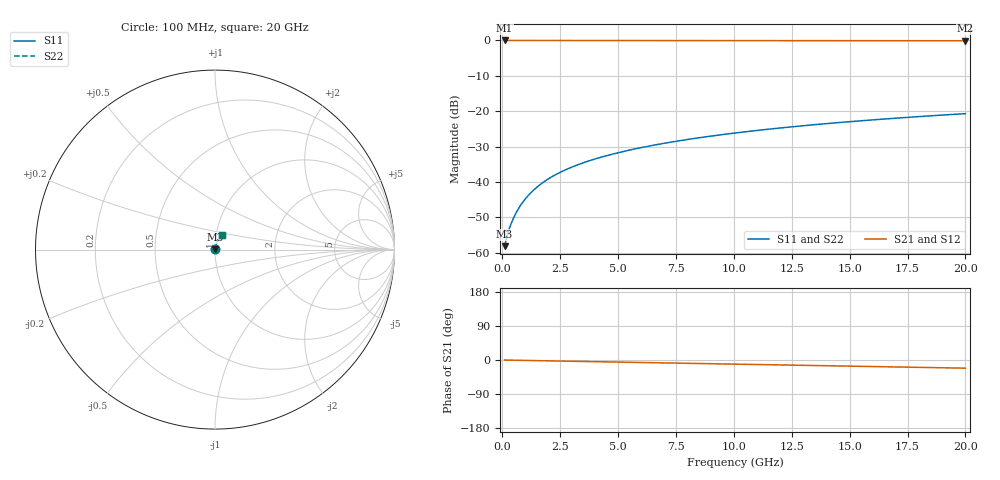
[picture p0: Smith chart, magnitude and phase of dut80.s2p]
! Touchstone file exported from HFSS 2026.1.0
!  File:  C:/ffzhzh/LocalFiles/Ansys_Project_Files/temp_train_TMRDL_80_1782881339_13352.aedt
!  Generated:  12:50:07 PM Jul  1, 2026
!  Design:  TMRDL
!  Project:  temp_train_TMRDL_80_1782881339_13352
! Variables:
!  h_bsmrdl = 2um
!  h_ox = 20um
!  h_rdl = 5um
!  h_sub = 80um
!  h_tmrdl = 5.54um
!  h_tsv = 80um
!  h_via = 3um
!  l_bsmrdl = 300um
!  l_sub = 753.25um
!  l_tmrdl = 353.25um
!  m_sub = 200um
!  pitch = 40.56um
!  r_tsv = 6um
!  s_tmrdl = 10um
!  w_bsmrdl = 18um
!  w_sub = 500um
!  w_tmrdl = 28.92um
!  x_tsv_center1 = 367.71um
!  x_tsv_center2 = 685.71um
!  x_tsv_center3 = 1067.88um
!  x_tsv_center4 = 1385.88um
!  x_tsv_center5 = 1768.05um
!  x_tsv_center6 = 2086.05um
# GHz S MA R 50.000000
! Terminal data exported
! Port[1] = TM_RDL1_1_T1
! Port[2] = TM_RDL1_1_T2
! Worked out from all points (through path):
!   200 points, 100 MHz to 20 GHz, reference 50 ohm
!   highest |S21| = -0.01 dB at 100 MHz (marker M1); lowest = -0.1 dB at 20 GHz (marker M2)
!   group delay of S21, straight-line fit = 2.98 ps
!   lowest |S11| = -58.1 dB at 100 MHz (marker M3), VSWR 1.00, Z = 50.1 + j0.0731 ohm
!   |S11| at or under -10 dB: start of sweep to end of sweep
!   |S22| runs from -58.1 to -20.7 dB; largest |S21 - S12| = 9.2e-15
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0.1  0.00124 36.0  0.999 -0.1  0.999 -0.1  0.00124 36.0
! Gamma 0 0 0 0
! Port Impedance 50 0 50 0
0.2  0.001721 48.8  0.9989 -0.2  0.9989 -0.2  0.001721 48.8
0.3  0.002186 56.5  0.9988 -0.4  0.9988 -0.4  0.002186 56.5
0.4  0.002668 61.9  0.9987 -0.5  0.9987 -0.5  0.002668 61.9
0.5  0.003168 65.8  0.9986 -0.6  0.9986 -0.6  0.003169 65.8
0.6  0.003683 68.6  0.9986 -0.7  0.9986 -0.7  0.003683 68.6
0.8  0.004735 72.4  0.9985 -0.9  0.9985 -0.9  0.004735 72.4
1  0.005804 74.6  0.9985 -1.1  0.9985 -1.1  0.005804 74.6
1.2  0.006876 76.0  0.9984 -1.4  0.9984 -1.4  0.006876 76.0
1.4  0.007946 76.8  0.9983 -1.6  0.9983 -1.6  0.007946 76.8
1.7  0.009539 77.6  0.9982 -1.9  0.9982 -1.9  0.009539 77.6
2.2  0.01215 78.1  0.9979 -2.5  0.9979 -2.5  0.01215 78.1
2.8  0.01521 78.1  0.9976 -3.1  0.9976 -3.1  0.01521 78.1
3.5  0.01869 77.8  0.9971 -3.9  0.9971 -3.9  0.01869 77.8
4.2  0.02209 77.4  0.9967 -4.7  0.9967 -4.7  0.02209 77.4
5  0.02591 77.0  0.9963 -5.5  0.9963 -5.5  0.02591 77.0
6.8  0.03434 75.7  0.9953 -7.5  0.9953 -7.5  0.03434 75.7
8.3  0.04125 74.6  0.9946 -9.1  0.9946 -9.1  0.04125 74.6
10.1  0.04943 73.2  0.9937 -11.0  0.9937 -11.0  0.04943 73.1
13.4  0.06415 70.3  0.9921 -14.5  0.9921 -14.5  0.06415 70.3
16.7  0.07846 67.2  0.9904 -18.0  0.9904 -18.0  0.07847 67.2
20  0.09235 64.1  0.9886 -21.6  0.9886 -21.6  0.09235 64.0
